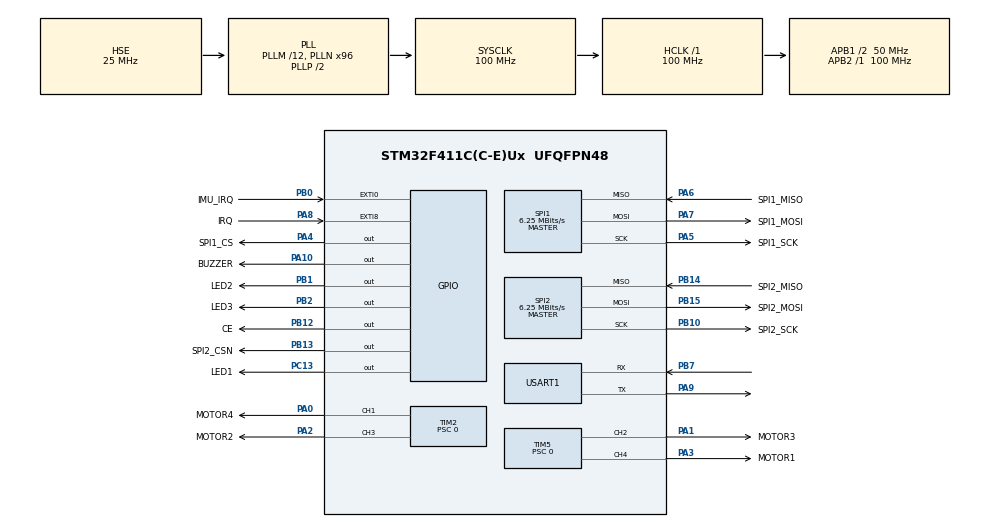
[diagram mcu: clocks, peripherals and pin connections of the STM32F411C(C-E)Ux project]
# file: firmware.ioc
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Mcu.Family=STM32F4
Dma.TIM2_CH1.0.MemInc=DMA_MINC_ENABLE
Dma.TIM5_CH4/TRIG.3.FIFOThreshold=DMA_FIFO_THRESHOLD_1QUARTERFULL
PA6.Mode=Full_Duplex_Master
RCC.CortexFreq_Value=100000000
Dma.TIM5_CH2.2.MemInc=DMA_MINC_ENABLE
SPI1.VirtualType=VM_MASTER
SPI2.VirtualType=VM_MASTER
PB10.Mode=Full_Duplex_Master
Dma.TIM5_CH2.2.Instance=DMA1_Stream4
PB14.GPIO_Label=SPI2_MISO
Dma.TIM5_CH4/TRIG.3.PeriphBurst=DMA_PBURST_SINGLE
SH.S_TIM5_CH2.0=TIM5_CH2,PWM Generation2 CH2
PA6.GPIO_Label=SPI1_MISO
PB0.GPIO_Label=IMU_IRQ
Dma.TIM2_CH1.0.Instance=DMA1_Stream5
PB13.GPIO_Label=SPI2_CSN
NVIC.DMA1_Stream4_IRQn=true\:0\:0\:false\:false\:true\:false\:true
PB13.Signal=GPIO_Output
PB15.Signal=SPI2_MOSI
RCC.SYSCLKSource=RCC_SYSCLKSOURCE_PLLCLK
ProjectManager.StackSize=0x400
Dma.TIM5_CH2.2.Mode=DMA_NORMAL
Dma.TIM5_CH2.2.FIFOMode=DMA_FIFOMODE_ENABLE
Dma.TIM2_CH3/UP.1.MemBurst=DMA_MBURST_SINGLE
SPI1.CLKPolarity=SPI_POLARITY_HIGH
Dma.TIM5_CH2.2.PeriphInc=DMA_PINC_DISABLE
PH0\ -\ OSC_IN.Signal=RCC_OSC_IN
SPI1.Direction=SPI_DIRECTION_2LINES
Dma.TIM5_CH4/TRIG.3.FIFOMode=DMA_FIFOMODE_ENABLE
RCC.HCLKFreq_Value=100000000
Dma.USART1_RX.4.MemDataAlignment=DMA_MDATAALIGN_BYTE
RCC.APB2TimFreq_Value=100000000
Dma.TIM5_CH4/TRIG.3.Instance=DMA1_Stream3
PB12.PinState=GPIO_PIN_RESET
SPI1.CalculateBaudRate=6.25 MBits/s
RCC.AHBFreq_Value=100000000
SPI2.BaudRatePrescaler=SPI_BAUDRATEPRESCALER_8
RCC.HSE_VALUE=25000000
PB2.Signal=GPIO_Output
PC13-ANTI_TAMP.Signal=GPIO_Output
PA4.GPIO_Speed=GPIO_SPEED_FREQ_HIGH
PB12.GPIO_Label=CE
PB0.GPIO_ModeDefaultEXTI=GPIO_MODE_IT_FALLING
Dma.USART1_RX.4.Instance=DMA2_Stream2
PC14-OSC32_IN.Mode=LSE-External-Oscillator
TIM5.Channel-PWM\ Generation4\ CH4=TIM_CHANNEL_4
PA14.Mode=Serial_Wire
PB14.Mode=Full_Duplex_Master
PB1.GPIO_Label=LED2
PA10.GPIO_Label=BUZZER
SPI2.CalculateBaudRate=6.25 MBits/s
PB7.Signal=USART1_RX
Dma.TIM5_CH4/TRIG.3.MemBurst=DMA_MBURST_SINGLE
PA8.Signal=GPXTI8
TIM2.Channel-PWM\ Generation1\ CH1=TIM_CHANNEL_1
Dma.TIM2_CH1.0.FIFOThreshold=DMA_FIFO_THRESHOLD_1QUARTERFULL
Dma.TIM5_CH2.2.PeriphDataAlignment=DMA_PDATAALIGN_WORD
Dma.TIM2_CH3/UP.1.PeriphBurst=DMA_PBURST_SINGLE
Dma.TIM5_CH2.2.Direction=DMA_MEMORY_TO_PERIPH
Mcu.Package=UFQFPN48
TIM2.Prescaler=0
PB1.Signal=GPIO_Output
PA6.Signal=SPI1_MISO
Dma.TIM2_CH1.0.FIFOMode=DMA_FIFOMODE_ENABLE
SPI2.Mode=SPI_MODE_MASTER
Dma.TIM2_CH3/UP.1.MemDataAlignment=DMA_MDATAALIGN_WORD
PA8.GPIO_ModeDefaultEXTI=GPIO_MODE_IT_FALLING
Dma.TIM5_CH4/TRIG.3.Priority=DMA_PRIORITY_VERY_HIGH
Dma.USART1_RX.4.Direction=DMA_PERIPH_TO_MEMORY
PA2.GPIO_Label=MOTOR2
PA10.Signal=GPIO_Output
Dma.TIM5_CH4/TRIG.3.Mode=DMA_NORMAL
Dma.TIM2_CH1.0.PeriphDataAlignment=DMA_PDATAALIGN_WORD
NVIC.DMA2_Stream2_IRQn=true\:0\:0\:false\:false\:true\:false\:true
Dma.Request2=TIM5_CH2
Dma.Request1=TIM2_CH3/UP
Dma.TIM2_CH3/UP.1.Direction=DMA_MEMORY_TO_PERIPH
RCC.APB1TimFreq_Value=100000000
Dma.Request4=USART1_RX
Dma.TIM2_CH3/UP.1.Priority=DMA_PRIORITY_VERY_HIGH
Dma.Request3=TIM5_CH4/TRIG
Dma.TIM5_CH4/TRIG.3.MemDataAlignment=DMA_MDATAALIGN_WORD
Dma.TIM5_CH4/TRIG.3.Direction=DMA_MEMORY_TO_PERIPH
SPI2.Direction=SPI_DIRECTION_2LINES
Dma.Request0=TIM2_CH1
SPI1.BaudRatePrescaler=SPI_BAUDRATEPRESCALER_16
PA4.GPIO_Label=SPI1_CS
Dma.TIM2_CH1.0.Direction=DMA_MEMORY_TO_PERIPH
PA3.Signal=S_TIM5_CH4
PA5.Mode=Full_Duplex_Master
Dma.TIM2_CH3/UP.1.Instance=DMA1_Stream1
RCC.PLLSourceVirtual=RCC_PLLSOURCE_HSE
PC15-OSC32_OUT.Mode=LSE-External-Oscillator
Dma.TIM2_CH3/UP.1.MemInc=DMA_MINC_ENABLE
PA7.Mode=Full_Duplex_Master
Dma.TIM2_CH1.0.MemBurst=DMA_MBURST_SINGLE
PC13-ANTI_TAMP.GPIO_Label=LED1
Dma.TIM5_CH2.2.MemDataAlignment=DMA_MDATAALIGN_WORD
PH1\ -\ OSC_OUT.Mode=HSE-External-Oscillator
Dma.USART1_RX.4.Priority=DMA_PRIORITY_LOW
SPI1.CLKPhase=SPI_PHASE_2EDGE
TIM11.Prescaler=99
NVIC.DMA1_Stream1_IRQn=true\:0\:0\:false\:false\:true\:false\:true
Dma.USART1_RX.4.Mode=DMA_CIRCULAR
RCC.APB1CLKDivider=RCC_HCLK_DIV2
PC14-OSC32_IN.Signal=RCC_OSC32_IN
Dma.TIM2_CH3/UP.1.Mode=DMA_NORMAL
Dma.USART1_RX.4.FIFOMode=DMA_FIFOMODE_DISABLE
PC13-ANTI_TAMP.PinState=GPIO_PIN_SET
PA0-WKUP.GPIO_Label=MOTOR4
PA0-WKUP.Signal=S_TIM2_CH1_ETR
VP_TIM11_VS_ClockSourceINT.Mode=Enable_Timer
PA13.Signal=SYS_JTMS-SWDIO
PA9.Mode=Asynchronous
PH0\ -\ OSC_IN.Mode=HSE-External-Oscillator
PA8.GPIO_Label=IRQ
Dma.TIM5_CH4/TRIG.3.PeriphDataAlignment=DMA_PDATAALIGN_WORD
PA4.PinState=GPIO_PIN_SET
ProjectManager.TargetToolchain=STM32CubeIDE
PB10.GPIO_Label=SPI2_SCK
NVIC.DMA1_Stream5_IRQn=true\:0\:0\:false\:false\:true\:false\:true
PA9.Signal=USART1_TX
Dma.TIM2_CH3/UP.1.FIFOMode=DMA_FIFOMODE_ENABLE
PB13.GPIO_Speed=GPIO_SPEED_FREQ_HIGH
Dma.TIM5_CH2.2.MemBurst=DMA_MBURST_SINGLE
PC15-OSC32_OUT.Signal=RCC_OSC32_OUT
PA1.Signal=S_TIM5_CH2
PB12.GPIO_Speed=GPIO_SPEED_FREQ_HIGH
PB10.Signal=SPI2_SCK
PB14.Signal=SPI2_MISO
PA5.Signal=SPI1_SCK
PH1\ -\ OSC_OUT.Signal=RCC_OSC_OUT
board=custom
RCC.VCOOutputFreq_Value=200000000
PB15.Mode=Full_Duplex_Master
Dma.TIM5_CH4/TRIG.3.MemInc=DMA_MINC_ENABLE
TIM11.Period=999
RCC.APB2Freq_Value=100000000
PB13.PinState=GPIO_PIN_SET
Dma.TIM2_CH1.0.Priority=DMA_PRIORITY_VERY_HIGH
PB15.GPIO_Label=SPI2_MOSI
Dma.USART1_RX.4.PeriphDataAlignment=DMA_PDATAALIGN_BYTE
SH.S_TIM2_CH3.0=TIM2_CH3,PWM Generation3 CH3
SPI1.Mode=SPI_MODE_MASTER
PA1.GPIO_Label=MOTOR3
TIM2.Channel-PWM\ Generation3\ CH3=TIM_CHANNEL_3
SH.S_TIM5_CH4.0=TIM5_CH4,PWM Generation4 CH4
TIM2.Period=0
PA13.Mode=Serial_Wire
Dma.TIM2_CH3/UP.1.PeriphDataAlignment=DMA_PDATAALIGN_WORD
Mcu.Name=STM32F411C(C-E)Ux
PA2.Signal=S_TIM2_CH3
Dma.TIM5_CH2.2.PeriphBurst=DMA_PBURST_SINGLE
RCC.48MHZClocksFreq_Value=50000000
NVIC.EXTI0_IRQn=true\:0\:0\:false\:false\:true\:true\:true
TIM5.Channel-PWM\ Generation2\ CH2=TIM_CHANNEL_2
PA4.Signal=GPIO_Output
RCC.SYSCLKFreq_VALUE=100000000
Dma.TIM2_CH1.0.Mode=DMA_NORMAL
PA7.GPIO_Label=SPI1_MOSI
PA5.GPIO_Label=SPI1_SCK
TIM5.Prescaler=0
Dma.TIM2_CH1.0.PeriphBurst=DMA_PBURST_SINGLE
USART1.VirtualMode=VM_ASYNC
PB7.Mode=Asynchronous
SH.S_TIM2_CH1_ETR.0=TIM2_CH1,PWM Generation1 CH1
Dma.TIM2_CH1.0.MemDataAlignment=DMA_MDATAALIGN_WORD
NVIC.EXTI9_5_IRQn=true\:0\:0\:false\:false\:true\:true\:true
PA14.Signal=SYS_JTCK-SWCLK
Dma.TIM2_CH3/UP.1.PeriphInc=DMA_PINC_DISABLE
Dma.USART1_RX.4.MemInc=DMA_MINC_ENABLE
PB2.GPIO_Label=LED3
ProjectManager.HeapSize=0x200
Dma.TIM5_CH4/TRIG.3.PeriphInc=DMA_PINC_DISABLE
RCC.HSI_VALUE=16000000
NVIC.PriorityGroup=NVIC_PRIORITYGROUP_4
Dma.TIM5_CH2.2.Priority=DMA_PRIORITY_VERY_HIGH
RCC.PLLM=12
RCC.PLLN=96
Dma.TIM2_CH3/UP.1.FIFOThreshold=DMA_FIFO_THRESHOLD_1QUARTERFULL
NVIC.DMA1_Stream3_IRQn=true\:0\:0\:false\:false\:true\:false\:true
TIM5.Period=0
Dma.USART1_RX.4.PeriphInc=DMA_PINC_DISABLE
RCC.APB1Freq_Value=50000000
PB0.Signal=GPXTI0
Dma.TIM5_CH2.2.FIFOThreshold=DMA_FIFO_THRESHOLD_1QUARTERFULL
Dma.TIM2_CH1.0.PeriphInc=DMA_PINC_DISABLE
PB12.Signal=GPIO_Output
PA3.GPIO_Label=MOTOR1
PA7.Signal=SPI1_MOSI

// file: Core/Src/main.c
/* USER CODE BEGIN Header */
/**
  ******************************************************************************
  * @file           : main.c
  * @brief          : Main program body
  ******************************************************************************
  * @attention
  *
  * <h2><center>&copy; Copyright (c) 2021 STMicroelectronics.
  * All rights reserved.</center></h2>
  *
  * This software component is licensed by ST under BSD 3-Clause license,
  * the "License"; You may not use this file except in compliance with the
  * License. You may obtain a copy of the License at:
  *                        opensource.org/licenses/BSD-3-Clause
  *
  ******************************************************************************
  */
/* USER CODE END Header */
#include "main.h"
#include "dma.h"
#include "spi.h"
#include "tim.h"
#include "usart.h"
#include "gpio.h"

/* USER CODE BEGIN Includes */

#include "led.h"
#include "buzzer.h"
#include "icm20948.h"
#include "dshot.h"
#include "ibus.h"
#include "nrf24l01p.h" // transmitter
#include "angle.h" // calculate angles from imu sensor datas

/* USER CODE END Includes */

/* USER CODE BEGIN PV */

// imu sensor data
gyro_t my_gyro;
accel_t my_accel;
mag_t my_mag;

uint16_t dt;

/// imu data ready flag;
uint8_t imu_ready;

// calculated angle
angle_t my_accel_angle;
angle_t my_gyro_angle;
angle_t my_filtered_angle;

// motor throttle
uint16_t my_motor_value[4] = {0, 0, 0, 0};

// rc transmitter stick data
uint16_t ibus_data[IBUS_USER_CHANNELS];

// data to be sent from quadcopter
uint8_t nrf24_data[NRF24L01P_PAYLOAD_LENGTH] = {0, 1, 2, 3, 4, 5, 6, 7};

/* USER CODE END PV */

void SystemClock_Config(void);
/* USER CODE BEGIN PFP */

// ibus receive complete interrupt
void HAL_UART_RxCpltCallback(UART_HandleTypeDef *huart);
// nrf24l01p transmit complete interrupt
void HAL_GPIO_EXTI_Callback(uint16_t GPIO_Pin); // nrf24l01p
// quadcopter control loop 1kHz timer interrupt
void HAL_TIM_PeriodElapsedCallback(TIM_HandleTypeDef *htim);

/* USER CODE END PFP */

int main(void)
{

  /* MCU Configuration--------------------------------------------------------*/

  /* Reset of all peripherals, Initializes the Flash interface and the Systick. */
  HAL_Init();

  /* Configure the system clock */
  SystemClock_Config();

  /* Initialize all configured peripherals */
  MX_GPIO_Init();
  MX_DMA_Init();
  MX_SPI1_Init();
  MX_TIM2_Init();
  MX_TIM5_Init();
  MX_TIM11_Init();
  MX_SPI2_Init();
  MX_USART1_UART_Init();
  /* USER CODE BEGIN 2 */

  icm20948_init();
  ak09916_init();
  dshot_init(DSHOT600);
  ibus_init();
  nrf24l01p_tx_init(2500, _1Mbps);

  HAL_TIM_Base_Start(&htim11);

  /* USER CODE END 2 */

  /* Infinite loop */
  while (1)
  {

    /* USER CODE BEGIN 3 */

	  if(imu_ready)
	  {
			led1_toggle();
			icm20948_gyro_read_dps(&my_gyro);
			icm20948_accel_read_g(&my_accel);

			complementary_filter(my_gyro, my_accel, dt*0.000001, 0.99, &my_filtered_angle);

			imu_ready = 0;
	  }

  }
  /* USER CODE END 3 */
}

void SystemClock_Config(void)
{
  RCC_OscInitTypeDef RCC_OscInitStruct = {0};
  RCC_ClkInitTypeDef RCC_ClkInitStruct = {0};

  /** Configure the main internal regulator output voltage
  */
  __HAL_RCC_PWR_CLK_ENABLE();
  __HAL_PWR_VOLTAGESCALING_CONFIG(PWR_REGULATOR_VOLTAGE_SCALE1);
  /** Initializes the RCC Oscillators according to the specified parameters
  * in the RCC_OscInitTypeDef structure.
  */
  RCC_OscInitStruct.OscillatorType = RCC_OSCILLATORTYPE_HSE;
  RCC_OscInitStruct.HSEState = RCC_HSE_ON;
  RCC_OscInitStruct.PLL.PLLState = RCC_PLL_ON;
  RCC_OscInitStruct.PLL.PLLSource = RCC_PLLSOURCE_HSE;
  RCC_OscInitStruct.PLL.PLLM = 12;
  RCC_OscInitStruct.PLL.PLLN = 96;
  RCC_OscInitStruct.PLL.PLLP = RCC_PLLP_DIV2;
  RCC_OscInitStruct.PLL.PLLQ = 4;
  if (HAL_RCC_OscConfig(&RCC_OscInitStruct) != HAL_OK)
  {
    Error_Handler();
  }
  /** Initializes the CPU, AHB and APB buses clocks
  */
  RCC_ClkInitStruct.ClockType = RCC_CLOCKTYPE_HCLK|RCC_CLOCKTYPE_SYSCLK
                              |RCC_CLOCKTYPE_PCLK1|RCC_CLOCKTYPE_PCLK2;
  RCC_ClkInitStruct.SYSCLKSource = RCC_SYSCLKSOURCE_PLLCLK;
  RCC_ClkInitStruct.AHBCLKDivider = RCC_SYSCLK_DIV1;
  RCC_ClkInitStruct.APB1CLKDivider = RCC_HCLK_DIV2;
  RCC_ClkInitStruct.APB2CLKDivider = RCC_HCLK_DIV1;

  if (HAL_RCC_ClockConfig(&RCC_ClkInitStruct, FLASH_LATENCY_3) != HAL_OK)
  {
    Error_Handler();
  }
}

/* USER CODE BEGIN 4 */

void HAL_UART_RxCpltCallback(UART_HandleTypeDef *huart)
{
	if(huart == IBUS_UART)
		ibus_reset_failsafe();
}

void HAL_GPIO_EXTI_Callback(uint16_t GPIO_Pin)
{
	if(GPIO_Pin == NRF24L01P_IRQ_PIN_NUMBER)
		nrf24l01p_tx_irq(); // clear interrupt flag

	if(GPIO_Pin == ICM20948_IRQ_PIN_NUMBER)
	{
		imu_ready = 1;
		dt = __HAL_TIM_GET_COUNTER(&htim11);
		__HAL_TIM_SET_COUNTER(&htim11, 0);
	}
}

/* USER CODE END 4 */

void Error_Handler(void)
{
  __disable_irq();
  while (1)
  {
  }
}

/************************ (C) COPYRIGHT STMicroelectronics *****END OF FILE****/
